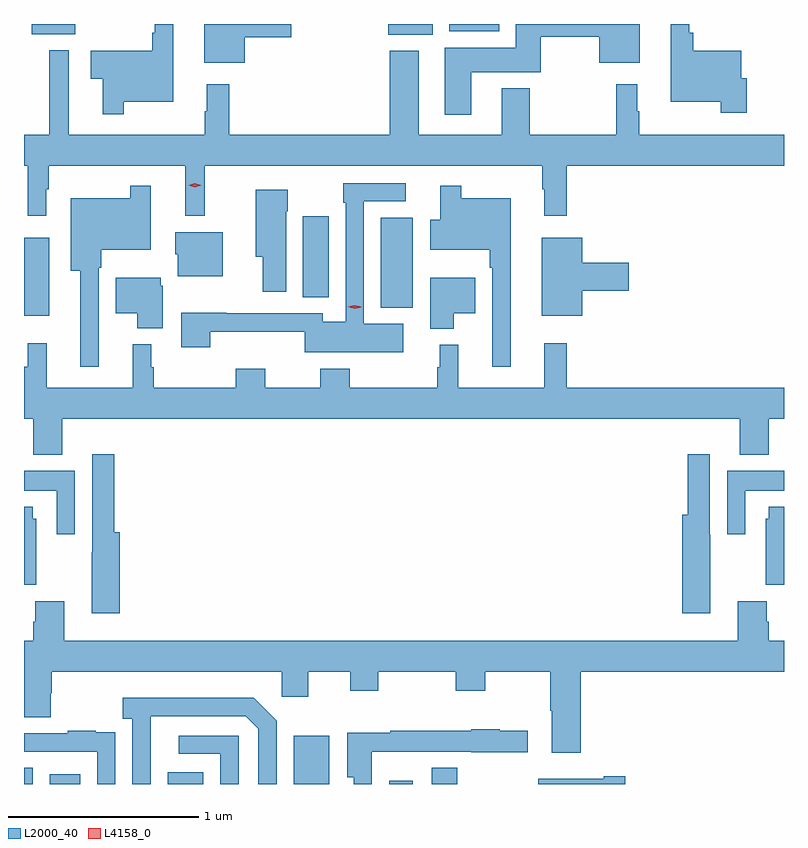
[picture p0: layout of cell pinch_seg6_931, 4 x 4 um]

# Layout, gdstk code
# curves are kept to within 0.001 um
import gdstk
lib = gdstk.Library(unit=1e-6, precision=1e-09)
def R(c, l, rs):  # rectangles x0, y0, x1, y1
    for r in rs: c.add(gdstk.rectangle(r[:2], r[2:], *l))
def P(c, l, *ps):  # polygons
    for p in ps: c.add(gdstk.Polygon(p, *l))
L2000_40 = (2000, 40)
L4158_0 = (4158, 0)

pinch_seg6_931 = lib.new_cell('pinch_seg6_931')
R(pinch_seg6_931, L2000_40, [(301.523,921.438,301.57,921.524), (301.658,921.438,301.819,921.49), (302.279,921.438,302.467,921.499), (302.942,921.438,303.13,921.691), (303.446,921.438,303.568,921.454), (303.668,921.438,303.802,921.524), (301.523,923.903,301.657,924.313), (303.401,923.945,303.568,924.419), (302.99,924.001,303.127,924.427), (303.44,925.382,303.673,925.438), (301.565,925.385,301.792,925.438), (303.761,925.4,304.024,925.438)])
P(pinch_seg6_931, L2000_40, [(305.326,925.152),(305.299,925.152),(305.299,925.297),(305.045,925.297),(305.045,925.393),(305.025,925.393),(305.025,925.438),(304.928,925.438),(304.928,925.028),(305.19,925.028),(305.19,924.971),(305.326,924.971)],
  [(302.047,925.028),(302.308,925.028),(302.308,925.438),(302.211,925.438),(302.211,925.393),(302.199,925.393),(302.199,925.297),(301.874,925.297),(301.874,925.15),(301.937,925.15),(301.937,924.963),(302.047,924.963)],
  [(303.877,925.184),(304.242,925.184),(304.242,925.372),(304.55,925.372),(304.55,925.235),(304.765,925.235),(304.765,925.438),(304.112,925.438),(304.112,925.312),(303.737,925.312),(303.737,924.96),(303.877,924.96)],
  [(302.686,925.367),(302.929,925.367),(302.929,925.438),(302.471,925.438),(302.471,925.235),(302.686,925.235)],
  [(301.641,924.569),(301.654,924.569),(301.654,924.692),(302.372,924.692),(302.372,924.429),(302.474,924.429),(302.474,924.692),(304.251,924.692),(304.251,924.569),(304.262,924.569),(304.262,924.429),(304.379,924.429),(304.379,924.692),(305.523,924.692),(305.523,924.856),(304.762,924.856),(304.762,924.98),(304.75,924.98),(304.75,925.12),(304.641,925.12),(304.641,924.856),(304.185,924.856),(304.185,925.099),(304.037,925.099),(304.037,924.856),(303.601,924.856),(303.601,925.297),(303.449,925.297),(303.449,924.856),(302.603,924.856),(302.603,925.12),(302.486,925.12),(302.486,924.98),(302.475,924.98),(302.475,924.856),(301.759,924.856),(301.759,925.3),(301.655,925.3),(301.655,924.856),(301.523,924.856),(301.523,924.692),(301.543,924.692),(301.543,924.429),(301.641,924.429)],
  [(303.52,923.86),(303.312,923.86),(303.312,924.504),(303.532,924.504),(303.532,924.6),(303.204,924.6),(303.204,924.497),(303.216,924.497),(303.216,923.872),(303.096,923.872),(303.096,923.916),(302.587,923.916),(302.587,923.918),(302.351,923.918),(302.351,923.736),(302.504,923.736),(302.504,923.819),(303,923.819),(303,923.711),(303.52,923.711)],
  [(301.917,924.155),(301.93,924.155),(301.93,924.251),(302.19,924.251),(302.19,924.586),(302.082,924.586),(302.082,924.52),(301.769,924.52),(301.769,924.14),(301.82,924.14),(301.82,923.634),(301.917,923.634)],
  [(304.084,924.52),(303.823,924.52),(303.823,924.586),(303.713,924.586),(303.713,924.409),(303.66,924.409),(303.66,924.251),(303.975,924.251),(303.975,924.155),(303.987,924.155),(303.987,923.634),(304.084,923.634)],
  [(302.902,924.452),(302.91,924.452),(302.91,924.565),(302.744,924.565),(302.744,924.212),(302.78,924.212),(302.78,924.03),(302.902,924.03)],
  [(302.569,924.343),(302.318,924.343),(302.318,924.225),(302.331,924.225),(302.331,924.11),(302.569,924.11)],
  [(304.462,924.035),(304.705,924.035),(304.705,924.182),(304.462,924.182),(304.462,924.313),(304.247,924.313),(304.247,923.903),(304.462,923.903)],
  [(303.784,923.915),(303.898,923.915),(303.898,924.103),(303.662,924.103),(303.662,923.834),(303.784,923.834)],
  [(302.253,924.06),(302.242,924.06),(302.242,924.103),(302.006,924.103),(302.006,923.915),(302.12,923.915),(302.12,923.837),(302.253,923.837)],
  [(301.723,923.36),(305.291,923.36),(305.291,923.171),(305.444,923.171),(305.444,923.36),(305.523,923.36),(305.523,923.524),(304.379,923.524),(304.379,923.758),(304.262,923.758),(304.262,923.524),(303.809,923.524),(303.809,923.749),(303.71,923.749),(303.71,923.631),(303.699,923.631),(303.699,923.524),(303.237,923.524),(303.237,923.623),(303.082,923.623),(303.082,923.524),(302.793,923.524),(302.793,923.623),(302.638,923.623),(302.638,923.524),(302.206,923.524),(302.206,923.631),(302.194,923.631),(302.194,923.752),(302.096,923.752),(302.096,923.524),(301.643,923.524),(301.643,923.758),(301.544,923.758),(301.544,923.633),(301.525,923.633),(301.525,923.524),(301.523,923.524),(301.523,923.36),(301.571,923.36),(301.571,923.171),(301.723,923.171)],
  [(302.027,922.762),(301.997,922.762),(301.997,923.173),(301.881,923.173),(301.881,922.658),(301.88,922.658),(301.88,922.338),(302.027,922.338)],
  [(305.134,922.751),(305.133,922.751),(305.133,923.173),(305.017,923.173),(305.017,922.855),(304.988,922.855),(304.988,922.338),(305.134,922.338)],
  [(301.791,923.086),(301.523,923.086),(301.523,922.982),(301.695,922.982),(301.695,922.752),(301.791,922.752)],
  [(305.319,922.982),(305.523,922.982),(305.523,923.086),(305.223,923.086),(305.223,922.752),(305.319,922.752)],
  [(301.588,922.833),(301.57,922.833),(301.57,922.897),(301.523,922.897),(301.523,922.486),(301.588,922.486)],
  [(305.523,922.897),(305.444,922.897),(305.444,922.833),(305.426,922.833),(305.426,922.486),(305.523,922.486)],
  [(304.454,922.028),(305.523,922.028),(305.523,922.192),(305.444,922.192),(305.444,922.292),(305.431,922.292),(305.431,922.401),(305.279,922.401),(305.279,922.192),(301.736,922.192),(301.736,922.401),(301.583,922.401),(301.583,922.292),(301.571,922.292),(301.571,922.192),(301.523,922.192),(301.523,921.79),(301.665,921.79),(301.665,921.915),(301.67,921.915),(301.67,922.028),(302.88,922.028),(302.88,921.897),(303.019,921.897),(303.019,922.028),(303.239,922.028),(303.239,921.929),(303.387,921.929),(303.387,922.028),(303.796,922.028),(303.796,921.929),(303.951,921.929),(303.951,922.028),(304.294,922.028),(304.294,921.824),(304.301,921.824),(304.301,921.603),(304.454,921.603)],
  [(302.19,921.595),(302.191,921.795),(302.691,921.795),(302.757,921.729),(302.757,921.438),(302.853,921.438),(302.853,921.771),(302.732,921.892),(302.043,921.892),(302.043,921.782),(302.094,921.782),(302.094,921.438),(302.19,921.438)],
  [(303.354,921.608),(303.564,921.608),(303.564,921.609),(303.876,921.609),(303.876,921.605),(304.174,921.605),(304.174,921.718),(304.026,921.718),(304.026,921.727),(303.876,921.727),(303.876,921.718),(303.451,921.718),(303.451,921.708),(303.224,921.708),(303.224,921.473),(303.258,921.473),(303.258,921.438),(303.354,921.438)],
  [(302.004,921.602),(302.003,921.602),(302.003,921.711),(301.901,921.711),(301.901,921.718),(301.753,921.718),(301.753,921.705),(301.523,921.705),(301.523,921.609),(301.908,921.609),(301.908,921.438),(302.004,921.438)],
  [(302.652,921.693),(302.337,921.693),(302.337,921.597),(302.556,921.597),(302.556,921.438),(302.652,921.438)],
  [(304.687,921.479),(304.574,921.479),(304.574,921.466),(304.229,921.466),(304.229,921.438),(304.687,921.438)])
P(pinch_seg6_931, L4158_0, [(302.422,924.579),(302.389,924.589),(302.389,924.589),(302.389,924.589),(302.422,924.599),(302.456,924.589),(302.456,924.589),(302.456,924.589)],
  [(303.263,923.939),(303.228,923.949),(303.228,923.949),(303.228,923.949),(303.263,923.959),(303.298,923.949),(303.298,923.948),(303.298,923.948)])

lib.write_gds('pinch_seg6_931.gds')
